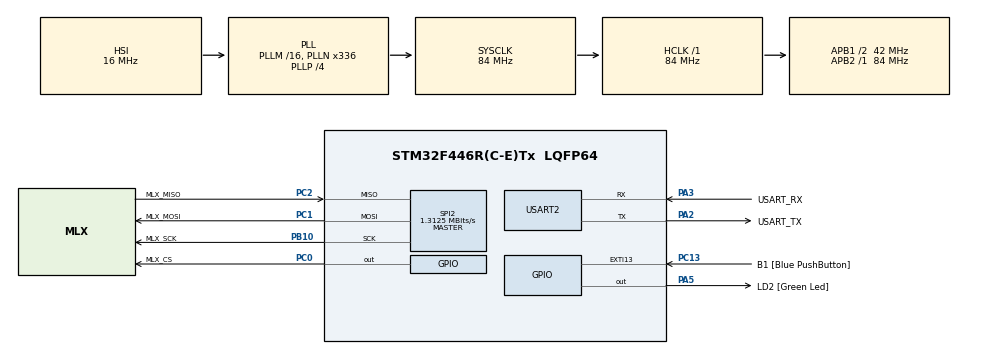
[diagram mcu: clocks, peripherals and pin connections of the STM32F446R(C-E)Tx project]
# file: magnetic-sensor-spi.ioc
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Mcu.Family=STM32F4
Mcu.Name=STM32F446R(C-E)Tx
Mcu.Package=LQFP64
NVIC.PriorityGroup=NVIC_PRIORITYGROUP_0
PA13.GPIO_Label=TMS
PA13.Mode=Serial_Wire
PA13.Signal=SYS_JTMS-SWDIO
PA14.GPIO_Label=TCK
PA14.Mode=Serial_Wire
PA14.Signal=SYS_JTCK-SWCLK
PA2.GPIO_Label=USART_TX
PA2.Mode=Asynchronous
PA2.Signal=USART2_TX
PA3.GPIO_Label=USART_RX
PA3.Mode=Asynchronous
PA3.Signal=USART2_RX
PA5.GPIO_Label=LD2 [Green Led]
PA5.Signal=GPIO_Output
PB10.GPIO_Label=MLX_SCK
PB10.GPIO_PuPd=GPIO_PULLUP
PB10.Mode=Full_Duplex_Master
PB10.Signal=SPI2_SCK
PB3.GPIO_Label=SWO
PB3.Signal=SYS_JTDO-SWO
PC0.GPIO_Label=MLX_CS
PC0.GPIO_PuPd=GPIO_PULLUP
PC0.GPIO_Speed=GPIO_SPEED_FREQ_VERY_HIGH
PC0.PinState=GPIO_PIN_SET
PC0.Signal=GPIO_Output
PC1.GPIO_Label=MLX_MOSI
PC1.GPIO_PuPd=GPIO_PULLUP
PC1.Mode=Full_Duplex_Master
PC1.Signal=SPI2_MOSI
PC13.GPIO_Label=B1 [Blue PushButton]
PC13.GPIO_ModeDefaultEXTI=GPIO_MODE_IT_FALLING
PC13.Signal=GPXTI13
PC14-OSC32_IN.Mode=LSE-External-Oscillator
PC14-OSC32_IN.Signal=RCC_OSC32_IN
PC15-OSC32_OUT.Mode=LSE-External-Oscillator
PC15-OSC32_OUT.Signal=RCC_OSC32_OUT
PC2.GPIO_Label=MLX_MISO
PC2.GPIO_PuPd=GPIO_PULLUP
PC2.Mode=Full_Duplex_Master
PC2.Signal=SPI2_MISO
PH0-OSC_IN.Mode=HSE-External-Oscillator
PH0-OSC_IN.Signal=RCC_OSC_IN
PH1-OSC_OUT.Mode=HSE-External-Oscillator
PH1-OSC_OUT.Signal=RCC_OSC_OUT
ProjectManager.HeapSize=0x200
ProjectManager.StackSize=0x400
ProjectManager.TargetToolchain=STM32CubeIDE
RCC.48MHZClocksFreq_Value=84000000
RCC.AHBFreq_Value=84000000
RCC.APB1CLKDivider=RCC_HCLK_DIV2
RCC.APB1Freq_Value=42000000
RCC.APB1TimFreq_Value=84000000
RCC.APB2Freq_Value=84000000
RCC.APB2TimFreq_Value=84000000
RCC.CortexFreq_Value=84000000
RCC.FLatency-AdvancedSettings=FLASH_LATENCY_2
RCC.HCLKFreq_Value=84000000
RCC.HSE_VALUE=8000000
RCC.HSI_VALUE=16000000
RCC.PLLN=336
RCC.PLLP=RCC_PLLP_DIV4
RCC.SYSCLKFreq_VALUE=84000000
RCC.SYSCLKSource=RCC_SYSCLKSOURCE_PLLCLK
RCC.USBFreq_Value=168000000
RCC.VCOOutputFreq_Value=336000000
SPI2.BaudRatePrescaler=SPI_BAUDRATEPRESCALER_32
SPI2.CLKPhase=SPI_PHASE_2EDGE
SPI2.CLKPolarity=SPI_POLARITY_HIGH
SPI2.CalculateBaudRate=1.3125 MBits/s
SPI2.Direction=SPI_DIRECTION_2LINES
SPI2.Mode=SPI_MODE_MASTER
SPI2.VirtualType=VM_MASTER
USART2.VirtualMode=VM_ASYNC
board=NUCLEO-F446RE

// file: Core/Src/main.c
/* USER CODE BEGIN Header */
/**
  ******************************************************************************
  * @file           : main.c
  * @brief          : Main program body
  ******************************************************************************
  * @attention
  *
  * Copyright (c) 2026 STMicroelectronics.
  * All rights reserved.
  *
  * This software is licensed under terms that can be found in the LICENSE file
  * in the root directory of this software component.
  * If no LICENSE file comes with this software, it is provided AS-IS.
  *
  ******************************************************************************
  */
/* USER CODE END Header */
#include "main.h"

/* USER CODE BEGIN Includes */
#include <stdio.h>
/* USER CODE END Includes */

/* USER CODE BEGIN PD */
#define MLX_CMD_SB      0x10 // Start Burst
#define MLX_CMD_RM      0x4E // Read Measurement (X, Y, Z)
#define MLX_CMD_RT      0xF0 // Reset
#define MLX_REG_WR      0x60 // Write Register
#define MLX_REG_CONF1   0x00 // Address for Gain/Filter
/* USER CODE END PD */

SPI_HandleTypeDef hspi2;

UART_HandleTypeDef huart2;

void SystemClock_Config(void);
static void MX_GPIO_Init(void);
static void MX_USART2_UART_Init(void);
static void MX_SPI2_Init(void);
/* USER CODE BEGIN PFP */
uint8_t MLX90393_Read_Data(float *x, float *y, float *z);
uint16_t MLX90393_Test_Connection(void);
/* USER CODE END PFP */

/* USER CODE BEGIN 0 */
int __io_putchar(int ch) {
    HAL_UART_Transmit(&huart2, (uint8_t *)&ch, 1, 0xFFFF);
    return ch;
}
/* USER CODE END 0 */

int main(void)
{

  /* MCU Configuration--------------------------------------------------------*/

  /* Reset of all peripherals, Initializes the Flash interface and the Systick. */
  HAL_Init();

  /* Configure the system clock */
  SystemClock_Config();

  /* Initialize all configured peripherals */
  MX_GPIO_Init();
  MX_USART2_UART_Init();
  MX_SPI2_Init();
  /* USER CODE BEGIN 2 */
  printf("Starting MLX90393 SPI Test...\r\n");
  HAL_Delay(100); // Give sensor time to wake up

  // Check if we get a valid status byte (not 0xFF)
  uint16_t check = MLX90393_Test_Connection();

  if(check == 0xFFFF || check == 0x0000) {
      printf("CRITICAL ERROR: SPI Bus not responding. Check PC0 (CS) and PB10 (SCK) wiring.\r\n");
  } else {
      printf("SPI Communication Successful!\r\n");
  }
  /* USER CODE END 2 */

  /* Infinite loop */
  while (1)
  {

    /* USER CODE BEGIN 3 */
	  float x_mag, y_mag, z_mag;
	  uint8_t start_cmd = 0x3E; // Start Measurement (ZYXT axes)

	  // 1. Tell sensor to start conversion
	  HAL_GPIO_WritePin(MLX_CS_GPIO_Port, MLX_CS_Pin, GPIO_PIN_RESET);
	  HAL_SPI_Transmit(&hspi2, &start_cmd, 1, 10);
	  HAL_GPIO_WritePin(MLX_CS_GPIO_Port, MLX_CS_Pin, GPIO_PIN_SET);

	  // 2. Wait for conversion (approx 10-20ms depending on filter settings)
	  HAL_Delay(20);

	  // 3. Read and Print
	  uint8_t status_byte = MLX90393_Read_Data(&x_mag, &y_mag, &z_mag);

	  printf("Status: 0x%X | X: %.2f | Y: %.2f | Z: %.2f uT\r\n", status_byte, x_mag, y_mag, z_mag);

	  HAL_Delay(100); // Poll 10 times per second
  }
  /* USER CODE END 3 */
}

void SystemClock_Config(void)
{
  RCC_OscInitTypeDef RCC_OscInitStruct = {0};
  RCC_ClkInitTypeDef RCC_ClkInitStruct = {0};

  /** Configure the main internal regulator output voltage
  */
  __HAL_RCC_PWR_CLK_ENABLE();
  __HAL_PWR_VOLTAGESCALING_CONFIG(PWR_REGULATOR_VOLTAGE_SCALE3);

  /** Initializes the RCC Oscillators according to the specified parameters
  * in the RCC_OscInitTypeDef structure.
  */
  RCC_OscInitStruct.OscillatorType = RCC_OSCILLATORTYPE_HSI;
  RCC_OscInitStruct.HSIState = RCC_HSI_ON;
  RCC_OscInitStruct.HSICalibrationValue = RCC_HSICALIBRATION_DEFAULT;
  RCC_OscInitStruct.PLL.PLLState = RCC_PLL_ON;
  RCC_OscInitStruct.PLL.PLLSource = RCC_PLLSOURCE_HSI;
  RCC_OscInitStruct.PLL.PLLM = 16;
  RCC_OscInitStruct.PLL.PLLN = 336;
  RCC_OscInitStruct.PLL.PLLP = RCC_PLLP_DIV4;
  RCC_OscInitStruct.PLL.PLLQ = 2;
  RCC_OscInitStruct.PLL.PLLR = 2;
  if (HAL_RCC_OscConfig(&RCC_OscInitStruct) != HAL_OK)
  {
    Error_Handler();
  }

  /** Initializes the CPU, AHB and APB buses clocks
  */
  RCC_ClkInitStruct.ClockType = RCC_CLOCKTYPE_HCLK|RCC_CLOCKTYPE_SYSCLK
                              |RCC_CLOCKTYPE_PCLK1|RCC_CLOCKTYPE_PCLK2;
  RCC_ClkInitStruct.SYSCLKSource = RCC_SYSCLKSOURCE_PLLCLK;
  RCC_ClkInitStruct.AHBCLKDivider = RCC_SYSCLK_DIV1;
  RCC_ClkInitStruct.APB1CLKDivider = RCC_HCLK_DIV2;
  RCC_ClkInitStruct.APB2CLKDivider = RCC_HCLK_DIV1;

  if (HAL_RCC_ClockConfig(&RCC_ClkInitStruct, FLASH_LATENCY_2) != HAL_OK)
  {
    Error_Handler();
  }
}

static void MX_SPI2_Init(void)
{

  /* SPI2 parameter configuration*/
  hspi2.Instance = SPI2;
  hspi2.Init.Mode = SPI_MODE_MASTER;
  hspi2.Init.Direction = SPI_DIRECTION_2LINES;
  hspi2.Init.DataSize = SPI_DATASIZE_8BIT;
  hspi2.Init.CLKPolarity = SPI_POLARITY_HIGH;
  hspi2.Init.CLKPhase = SPI_PHASE_2EDGE;
  hspi2.Init.NSS = SPI_NSS_SOFT;
  hspi2.Init.BaudRatePrescaler = SPI_BAUDRATEPRESCALER_32;
  hspi2.Init.FirstBit = SPI_FIRSTBIT_MSB;
  hspi2.Init.TIMode = SPI_TIMODE_DISABLE;
  hspi2.Init.CRCCalculation = SPI_CRCCALCULATION_DISABLE;
  hspi2.Init.CRCPolynomial = 10;
  if (HAL_SPI_Init(&hspi2) != HAL_OK)
  {
    Error_Handler();
  }

}

static void MX_USART2_UART_Init(void)
{

  huart2.Instance = USART2;
  huart2.Init.BaudRate = 115200;
  huart2.Init.WordLength = UART_WORDLENGTH_8B;
  huart2.Init.StopBits = UART_STOPBITS_1;
  huart2.Init.Parity = UART_PARITY_NONE;
  huart2.Init.Mode = UART_MODE_TX_RX;
  huart2.Init.HwFlowCtl = UART_HWCONTROL_NONE;
  huart2.Init.OverSampling = UART_OVERSAMPLING_16;
  if (HAL_UART_Init(&huart2) != HAL_OK)
  {
    Error_Handler();
  }

}

static void MX_GPIO_Init(void)
{
  GPIO_InitTypeDef GPIO_InitStruct = {0};

  /* GPIO Ports Clock Enable */
  __HAL_RCC_GPIOC_CLK_ENABLE();
  __HAL_RCC_GPIOH_CLK_ENABLE();
  __HAL_RCC_GPIOA_CLK_ENABLE();
  __HAL_RCC_GPIOB_CLK_ENABLE();

  /*Configure GPIO pin Output Level */
  HAL_GPIO_WritePin(MLX_CS_GPIO_Port, MLX_CS_Pin, GPIO_PIN_SET);

  /*Configure GPIO pin Output Level */
  HAL_GPIO_WritePin(LD2_GPIO_Port, LD2_Pin, GPIO_PIN_RESET);

  /*Configure GPIO pin : B1_Pin */
  GPIO_InitStruct.Pin = B1_Pin;
  GPIO_InitStruct.Mode = GPIO_MODE_IT_FALLING;
  GPIO_InitStruct.Pull = GPIO_NOPULL;
  HAL_GPIO_Init(B1_GPIO_Port, &GPIO_InitStruct);

  /*Configure GPIO pin : MLX_CS_Pin */
  GPIO_InitStruct.Pin = MLX_CS_Pin;
  GPIO_InitStruct.Mode = GPIO_MODE_OUTPUT_PP;
  GPIO_InitStruct.Pull = GPIO_PULLUP;
  GPIO_InitStruct.Speed = GPIO_SPEED_FREQ_VERY_HIGH;
  HAL_GPIO_Init(MLX_CS_GPIO_Port, &GPIO_InitStruct);

  /*Configure GPIO pin : LD2_Pin */
  GPIO_InitStruct.Pin = LD2_Pin;
  GPIO_InitStruct.Mode = GPIO_MODE_OUTPUT_PP;
  GPIO_InitStruct.Pull = GPIO_NOPULL;
  GPIO_InitStruct.Speed = GPIO_SPEED_FREQ_LOW;
  HAL_GPIO_Init(LD2_GPIO_Port, &GPIO_InitStruct);

}

/* USER CODE BEGIN 4 */
uint8_t MLX90393_Read_Data(float *x, float *y, float *z) {
    uint8_t cmd = MLX_CMD_RM;
    uint8_t status_byte = 0;
    uint8_t rx_buf[6]; // 6 Data Bytes (X, Y, Z)

    HAL_GPIO_WritePin(MLX_CS_GPIO_Port, MLX_CS_Pin, GPIO_PIN_RESET); // CS Low

    // 1. Send Command and simultaneously receive the Status Byte
    HAL_SPI_TransmitReceive(&hspi2, &cmd, &status_byte, 1, 10);

    // 2. Read the 6 bytes of magnetic data
    HAL_SPI_Receive(&hspi2, rx_buf, 6, 10);

    HAL_GPIO_WritePin(MLX_CS_GPIO_Port, MLX_CS_Pin, GPIO_PIN_SET);   // CS High

    // 4. Convert bytes to 16-bit signed integers
    int16_t x_raw = (rx_buf[0] << 8) | rx_buf[1];
    int16_t y_raw = (rx_buf[2] << 8) | rx_buf[3];
    int16_t z_raw = (rx_buf[4] << 8) | rx_buf[5];

    // Conversion to microTesla (assuming default Gain)
    *x = (float)x_raw * 0.15f;
    *y = (float)y_raw * 0.15f;
    *z = (float)z_raw * 0.15f;

    return status_byte;
}

uint16_t MLX90393_Test_Connection(void) {
    uint8_t nop = 0x00;  // Nop command
    uint8_t cmd = 0x80;  // Read Register
    uint8_t addr = 0x00; // Reg 0
    uint8_t rx_buf[3];

    HAL_GPIO_WritePin(MLX_CS_GPIO_Port, MLX_CS_Pin, GPIO_PIN_RESET);

    // Send a NOP first to wake the SPI interface
    HAL_SPI_Transmit(&hspi2, &nop, 1, 10);
    HAL_GPIO_WritePin(MLX_CS_GPIO_Port, MLX_CS_Pin, GPIO_PIN_SET);

    HAL_Delay(5); // Short breath

    HAL_GPIO_WritePin(MLX_CS_GPIO_Port, MLX_CS_Pin, GPIO_PIN_RESET);
    HAL_SPI_Transmit(&hspi2, &cmd, 1, 10);
    HAL_SPI_Transmit(&hspi2, &addr, 1, 10);
    HAL_SPI_Receive(&hspi2, rx_buf, 3, 10);
    HAL_GPIO_WritePin(MLX_CS_GPIO_Port, MLX_CS_Pin, GPIO_PIN_SET);

    uint16_t reg_val = (rx_buf[1] << 8) | rx_buf[2];
    printf("Re-Test -> Status: 0x%02X, Reg0: 0x%04X\r\n", rx_buf[0], reg_val);
    return reg_val;
}
/* USER CODE END 4 */

void Error_Handler(void)
{
  __disable_irq();
  while (1)
  {
  }
}
